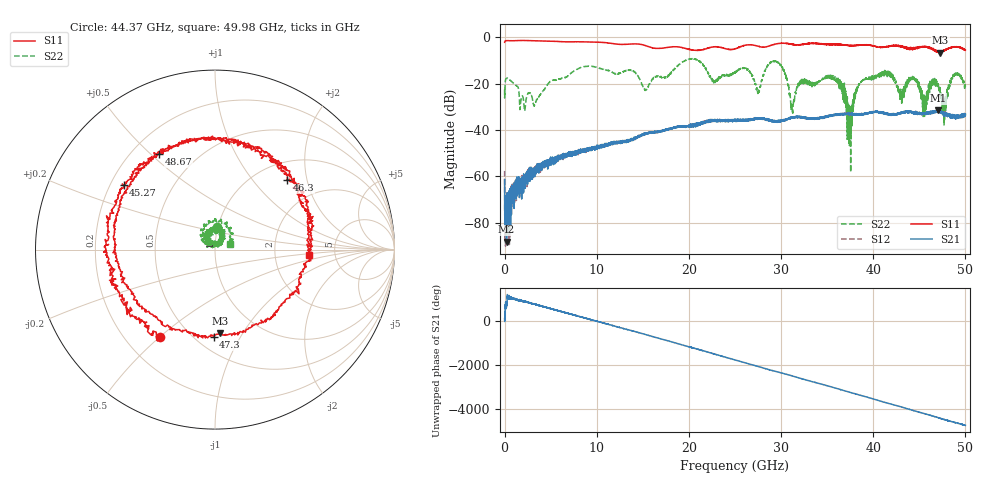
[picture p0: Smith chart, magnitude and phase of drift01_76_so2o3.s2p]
!Created with skrf (http://scikit-rf.org).
# Hz S RI R 50.0
!freq ReS11 ImS11 ReS21 ImS21 ReS12 ImS12 ReS22 ImS22
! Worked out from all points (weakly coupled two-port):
!   10001 points, 300 kHz to 50 GHz, reference 50 ohm
!   highest |S21| = -31.49 dB at 47.04 GHz (marker M1); lowest = -88.2 dB at 210.3 MHz (marker M2)
!   lowest |S11| = -6.6 dB at 47.27 GHz (marker M3), VSWR 2.76, Z = 33.7 - j40.3 ohm
!   |S11| at or under -10 dB: nowhere
!   |S22| runs from -58.2 to -9.2 dB; largest |S21 - S12| = 0.0036
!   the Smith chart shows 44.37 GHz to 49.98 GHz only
!   S11 on the Smith chart (normalised r, x): 44.37 GHz: 0.34, -0.50; 45.27 GHz: 0.25, +0.30; 46.3 GHz: 1.36, +1.52; 47.3 GHz: 0.61, -0.78; 48.67 GHz: 0.31, +0.53; 49.98 GHz: 3.16, -0.25
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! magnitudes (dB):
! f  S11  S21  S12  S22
! 300 kHz  -2.1  -61.4  -57.7  -22.5
! 210.3 MHz  -1.4  -88.2  -79.4  -17.7
! 3.29 GHz  -1.5  -57.7  -58.9  -28.8
! 8.335 GHz  -1.9  -48.5  -48.5  -12.9
! 16.67 GHz  -4.8  -40.6  -40.7  -16.7
! 25 GHz  -5.0  -35.6  -36.0  -15.3
! 29.58 GHz  -2.8  -36.1  -36.2  -10.7
! 31.23 GHz  -3.0  -34.7  -34.6  -32.4
! 33.34 GHz  -2.6  -35.2  -35.2  -19.9
! 36.15 GHz  -3.1  -33.4  -33.5  -18.9
! 37.47 GHz  -3.6  -33.0  -33.2  -37.2
! 38.66 GHz  -3.4  -33.4  -33.3  -19.3
! 41.67 GHz  -3.9  -33.2  -33.2  -16.2
! 44.37 GHz  -4.8  -32.6  -32.7  -18.1
! 45.27 GHz  -4.1  -32.9  -33.1  -23.7
! 46.3 GHz  -5.1  -32.3  -32.3  -19.5
! 47.04 GHz  -6.1  -31.5  -31.9  -19.8
! 47.27 GHz  -6.6  -32.4  -32.4  -23.4
! 47.3 GHz  -6.3  -31.9  -32.3  -25.4
! 48.67 GHz  -4.2  -34.4  -33.8  -16.5
! 49.98 GHz  -5.6  -33.7  -32.9  -20.9
! 50 GHz  -5.5  -33.2  -33.7  -21.1
